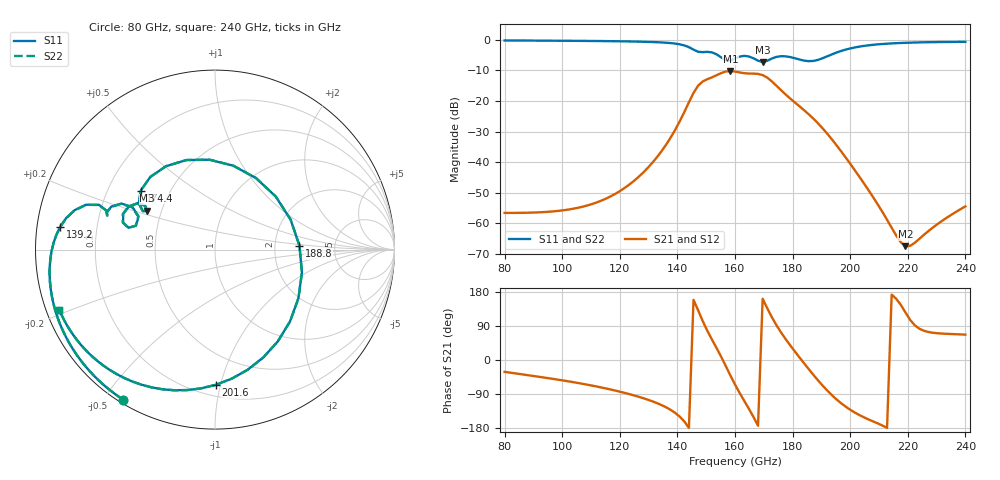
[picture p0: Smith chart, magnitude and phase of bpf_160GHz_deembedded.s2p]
! Created with skrf 2.2.0 (http://scikit-rf.org).
# GHz S DB R 50.0
! Port[1] = P1
! Port[2] = P2
!freq dBS11 angS11 dBS21 angS21 dBS12 angS12 dBS22 angS22
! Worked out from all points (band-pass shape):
!   101 points, 80 GHz to 240 GHz, reference 50 ohm
!   highest |S21| = -10.17 dB at 158.4 GHz (marker M1); lowest = -67.5 dB at 219.2 GHz (marker M2)
!   |S21| within 3 dB of the highest: 149.7 GHz to 172.3 GHz (22.57 GHz wide, 14 % of centre)
!   lowest |S11| = -7.2 dB at 169.6 GHz (marker M3), VSWR 2.54, Z = 20.8 + j11.1 ohm
!   |S11| at or under -10 dB: nowhere
!   |S22| runs from -7.1 to -0.2 dB; largest |S21 - S12| = 4.9e-13
!   S11 on the Smith chart (normalised r, x): 80 GHz: 0.01, -0.56; 139.2 GHz: 0.07, +0.07; 174.4 GHz: 0.34, +0.31; 188.8 GHz: 2.77, +0.15; 201.6 GHz: 0.28, -0.97; 240 GHz: 0.04, -0.19
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80  -0.18 -121.4  -56.58 -31.3  -56.58 -31.3  -0.18 -121.4
107.2  -0.32 -148.2  -54.53 -63.0  -54.53 -63.0  -0.32 -148.2
121.6  -0.47 -163.1  -48.47 -86.6  -48.47 -86.6  -0.47 -163.0
134.4  -0.82 -179.7  -36.52 -118.7  -36.52 -118.7  -0.82 -179.7
139.2  -1.20 171.5  -29.46 -139.4  -29.46 -139.4  -1.20 171.5
144  -2.37 160.8  -20.39 -179.0  -20.39 -179.0  -2.39 160.8
147.2  -3.89 160.3  -14.95 131.1  -14.95 131.1  -3.93 160.5
150.4  -3.90 161.0  -12.85 76.9  -12.85 76.9  -3.90 161.3
155.2  -5.72 152.7  -10.84 8.5  -10.84 8.5  -5.70 152.9
158.4  -6.75 163.1  -10.17 -40.8  -10.17 -40.8  -6.73 163.2
160  -6.08 165.8  -10.34 -64.7  -10.34 -64.7  -6.06 165.9
164.8  -5.41 153.4  -11.00 -128.4  -11.00 -128.4  -5.37 153.6
169.6  -7.22 150.3  -11.50 161.6  -11.50 161.6  -7.14 150.1
174.4  -5.54 141.5  -14.99 91.7  -14.99 91.7  -5.53 141.2
180.8  -5.99 93.6  -20.47 22.4  -20.47 22.4  -5.98 93.5
187.2  -6.88 21.5  -25.74 -39.0  -25.74 -39.0  -6.88 21.8
188.8  -6.54 2.5  -27.26 -53.5  -27.26 -53.5  -6.54 2.9
195.2  -4.15 -55.7  -34.39 -103.6  -34.39 -103.6  -4.17 -55.3
201.6  -2.46 -89.6  -42.62 -138.6  -42.62 -138.6  -2.48 -89.3
214.4  -1.14 -125.5  -61.43 172.6  -61.43 172.6  -1.15 -125.3
219.2  -0.94 -134.0  -67.46 125.3  -67.46 125.3  -0.95 -133.8
240  -0.63 -159.0  -54.45 66.9  -54.45 66.9  -0.63 -158.8
